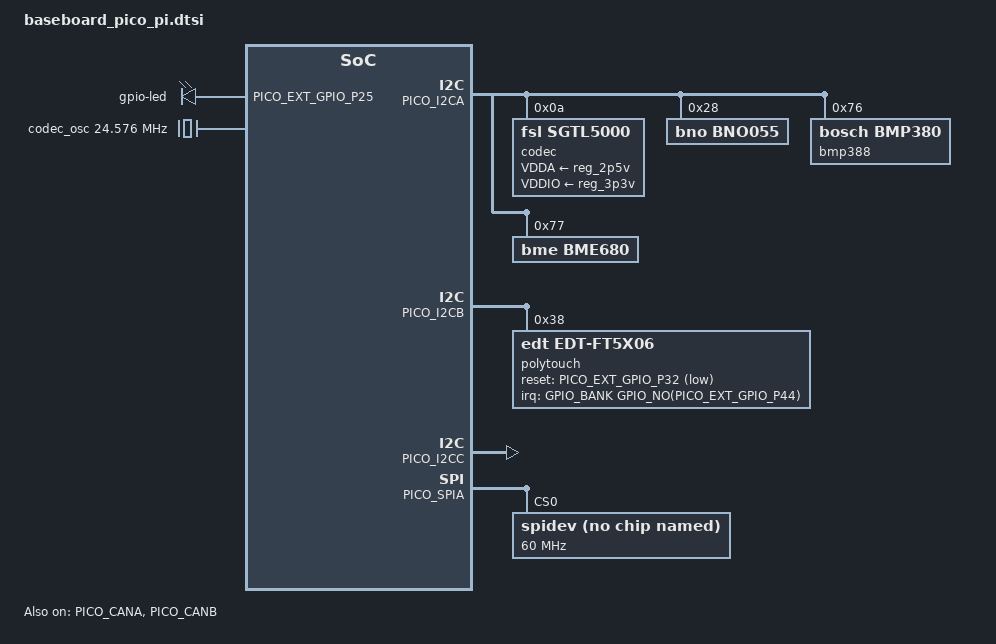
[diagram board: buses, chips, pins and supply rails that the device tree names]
/*
 * Copyright 2018 Technexion Ltd.
 *
 * Author: Tapani Utriainen <tapani@technexion.com>
 *         Richard Hu <richard.hu@technexion.com>
 *
 * This program is free software; you can redistribute it and/or modify
 * it under the terms of the GNU General Public License version 2 as
 * published by the Free Software Foundation.
 *
 */

#include "tnmacro.h"

/ {
	gpio-edm {
		compatible = "gpio-edm";

		gpio_p24 {
			label = "GPIO_P24";
			gpios = <&PICO_EXT_GPIO_P24 GPIO_ACTIVE_HIGH>;
			dir   = "out";
		};
		gpio_p28 {
			label = "GPIO_P28";
			gpios = <&PICO_EXT_GPIO_P28 GPIO_ACTIVE_HIGH>;
			dir   = "out";
		};
		gpio_p26 {
			label = "GPIO_P26";
			gpios = <&PICO_EXT_GPIO_P26 GPIO_ACTIVE_HIGH>;
			dir   = "out";
		};
		gpio_p30 {
			label = "GPIO_P30";
			gpios = <&PICO_EXT_GPIO_P30 GPIO_ACTIVE_HIGH>;
			dir   = "in";
		};
		gpio_p34 {
			label = "GPIO_P34";
			gpios = <&PICO_EXT_GPIO_P34 GPIO_ACTIVE_HIGH>;
			dir   = "in";
		};
#ifdef PICO_EXT_GPIO_P42
		gpio_p42 {
			label = "GPIO_P42";
			gpios = <&PICO_EXT_GPIO_P42 GPIO_ACTIVE_HIGH>;
			dir   = "out";
		};
#endif
		gpio_p48 {
			label = "GPIO_P48";
			gpios = <&PICO_EXT_GPIO_P48 GPIO_ACTIVE_HIGH>;
			dir   = "out";
		};
	};

	sound {
		compatible = "fsl,imx-sgtl5000",
			     "fsl,imx-audio-sgtl5000";
		model = "audio-sgtl5000";
		ssi-controller = <&PICO_AUDA_I2S_CHANNEL>;
		audio-codec = <&codec>;
		audio-routing =
			"MIC_IN", "Mic Jack",
			"Mic Jack", "Mic Bias",
			"Headphone Jack", "HP_OUT";
#if defined(PICO_AUDA_MUX_INT) && defined(PICO_AUDA_MUX_EXT)
		mux-int-port = <PICO_AUDA_MUX_INT>;
		mux-ext-port = <PICO_AUDA_MUX_EXT>;
#else
		fsl,no-audmux = "true";
#endif
	};

	gpio-leds {
		compatible = "gpio-leds";

		led {
			label = "gpio-led";
			gpios = <&PICO_EXT_GPIO_P25 GPIO_ACTIVE_HIGH>; /* PICO_P25 */
		};
	};

	clocks {
		codec_osc: aud_mclk {
			compatible = "fixed-clock";
			#clock-cells = <0>;
			clock-frequency = <24576000>;
		};
	};
};

&PICO_I2CA {
	status = "okay";

	codec: sgtl5000@0a {
		compatible = "fsl,sgtl5000";
		reg = <0x0a>;
		clocks = <&codec_osc>;
		VDDA-supply = <&reg_2p5v>;
		VDDIO-supply = <&reg_3p3v>;
	};

	bno055@28 {
		compatible = "bno,bno055";
		reg = <0x28>;
		status = "okay";
	};

	bmp388@76 {
		compatible = "bosch,bmp380";
		reg = <0x76>;
		status = "okay";
	};

	bme680@77 {
		compatible = "bme,bme680";
		reg = <0x77>;
		status = "okay";
	};
};

&PICO_I2CB {
	polytouch: edt-ft5x06@38 {
		compatible = "edt,edt-ft5x06";

		reg = <0x38>;
		interrupt-parent = <&GPIO_BANK(PICO_EXT_GPIO_P44)>; /* PICO_P44 */
		interrupts = <GPIO_NO(PICO_EXT_GPIO_P44) 0>;
		reset-gpios = <&PICO_EXT_GPIO_P32 GPIO_ACTIVE_LOW>; /* PICO_P32 */
		touchscreen-size-x = <800>;
		touchscreen-size-y = <480>;
	};
};

&PICO_I2CC {
	status = "okay";

};

&PICO_CANA {
	status = "okay";
};

&PICO_CANB {
	status = "okay";
};

&PICO_SPIA {
	status = "okay";

	spidev@1 {
		compatible = "rohm,dh2228fv";
		spi-max-frequency = <60000000>;
		reg = <0>;
	};
};

